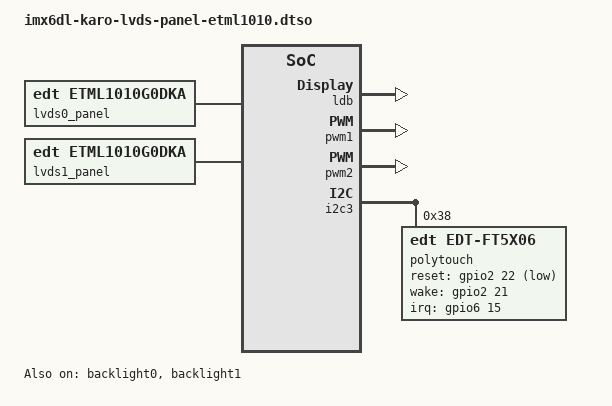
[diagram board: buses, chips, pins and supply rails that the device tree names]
// SPDX-License-Identifier: (GPL-2.0 OR MIT)
/*
 * Copyright 2026 Ka-Ro electronics GmbH
 *
 * EDT ETML1010G0DKA 1280x800 LVDS panel on both MB7 LVDS connectors.
 */

/dts-v1/;
/plugin/;

#include <dt-bindings/gpio/gpio.h>
#include <dt-bindings/interrupt-controller/irq.h>
#include "imx6dl-pinfunc.h"

&{/} {
	chosen {
		overlays {
			karo-lvds-panel-etml1010;
		};
	};
};

&backlight0 {
	status = "okay";
};

&backlight1 {
	status = "okay";
};

&ldb {
	status = "okay";
};

&pwm1 {
	status = "okay";
};

&pwm2 {
	status = "okay";
};

&lvds0_panel {
	compatible = "edt,etml1010g0dka";
	pixelclk-active = <0>;
	status = "okay";
};

&lvds1_panel {
	compatible = "edt,etml1010g0dka";
	pixelclk-active = <0>;
	status = "okay";
};

/* FT5x06 touch on the MB7 panel connector */
&i2c3 {
	polytouch: polytouch@38 {
		compatible = "edt,edt-ft5x06";
		reg = <0x38>;
		pinctrl-names = "default";
		pinctrl-0 = <&pinctrl_edt_ft5x06>;
		interrupt-parent = <&gpio6>;
		interrupts = <15 IRQ_TYPE_EDGE_FALLING>;
		reset-gpios = <&gpio2 22 GPIO_ACTIVE_LOW>;
		wake-gpios = <&gpio2 21 GPIO_ACTIVE_HIGH>;
		wakeup-source;
	};
};

&iomuxc {
	pinctrl_edt_ft5x06: edt-ft5x06grp {
		fsl,pins = <
			MX6QDL_PAD_NANDF_CS2__GPIO6_IO15	0x1b0b0
			MX6QDL_PAD_EIM_A16__GPIO2_IO22		0x1b0b0
			MX6QDL_PAD_EIM_A17__GPIO2_IO21		0x1b0b0
		>;
	};
};
